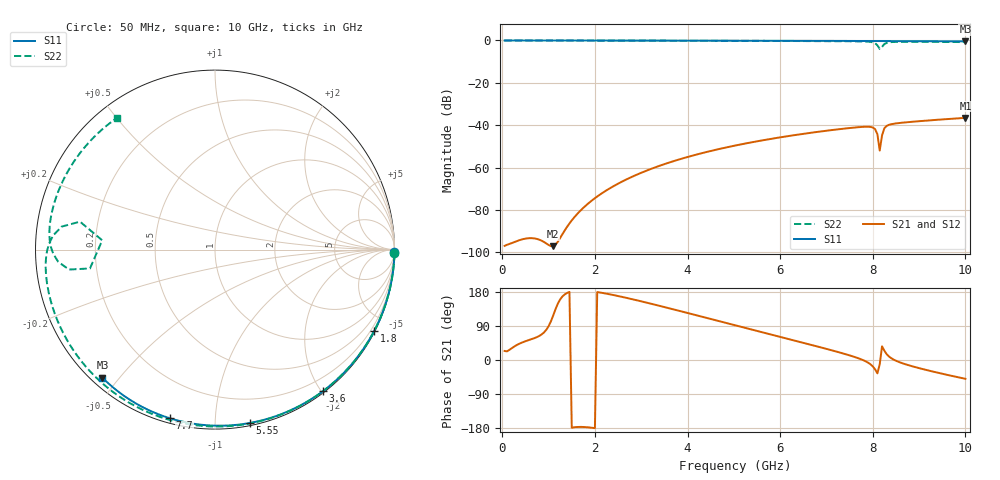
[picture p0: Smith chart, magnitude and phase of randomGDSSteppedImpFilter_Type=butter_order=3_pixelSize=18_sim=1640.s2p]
! freq	dB(S11)	phase(S11)	dB(S12)	phase(S12)
!  dB(S21)	phase(S21)	dB(S22)	phase(S22)
!S-par simulation data
#  GHz  S  DB  R 50
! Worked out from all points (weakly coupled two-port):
!   200 points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, 50 MHz to 10 GHz, reference 50 ohm
!   highest |S21| = -36.54 dB at 10 GHz (marker M1); lowest = -97.1 dB at 1.1 GHz (marker M2)
!   lowest |S11| = -0.4 dB at 10 GHz (marker M3), VSWR 39.09, Z = 1.54 - j22.6 ohm
!   |S11| at or under -10 dB: nowhere
!   |S22| runs from -4.0 to 0.0 dB; largest |S21 - S12| = 0
!   S11 on the Smith chart (normalised r, x): 50 MHz: open; 1.8 GHz: 0.04, -4.17; 3.6 GHz: 0.02, -2.02; 5.55 GHz: 0.02, -1.22; 7.7 GHz: 0.02, -0.77; 10 GHz: 0.03, -0.45
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0.05  -0.00 -0.8  -96.98 23.8  -96.98 23.8  -0.00 -1.2
1.1  -0.02 -16.6  -97.13 117.7  -97.13 117.7  -0.03 -26.0
1.7  -0.03 -25.5  -80.07 -176.5  -80.07 -176.5  -0.05 -39.8
1.75  -0.03 -26.2  -79.01 -176.7  -79.01 -176.7  -0.05 -41.0
1.8  -0.03 -26.9  -78.02 -177.1  -78.02 -177.1  -0.05 -42.1
2.5  -0.05 -37.1  -67.62 168.9  -67.62 168.9  -0.07 -57.9
3.4  -0.07 -49.9  -59.14 142.8  -59.14 142.8  -0.10 -77.6
3.6  -0.07 -52.7  -57.67 136.6  -57.67 136.6  -0.11 -81.9
5.05  -0.11 -72.2  -49.52 90.9  -49.52 90.9  -0.18 -112.6
5.55  -0.13 -78.7  -47.42 75.2  -47.42 75.2  -0.21 -123.1
6.7  -0.18 -93.0  -43.48 39.0  -43.48 39.0  -0.30 -147.9
7.7  -0.24 -105.0  -40.93 4.1  -40.93 4.1  -0.44 -172.6
7.95  -0.26 -107.9  -40.83 -11.3  -40.83 -11.3  -0.68 177.9
8.05  -0.27 -109.1  -41.86 -24.7  -41.86 -24.7  -1.27 171.5
8.1  -0.27 -109.7  -44.29 -35.2  -44.29 -35.2  -2.29 168.3
8.15  -0.27 -110.2  -51.99 -11.4  -51.99 -11.4  -4.01 175.3
8.2  -0.27 -110.8  -44.85 36.1  -44.85 36.1  -3.04 -171.4
8.25  -0.28 -111.4  -41.46 24.6  -41.46 24.6  -1.71 -172.2
8.35  -0.29 -112.6  -39.83 9.2  -39.83 9.2  -0.90 -178.5
8.65  -0.31 -116.0  -38.80 -9.0  -38.80 -9.0  -0.62 169.7
9.1  -0.35 -121.1  -37.94 -24.6  -37.94 -24.6  -0.63 155.8
10  -0.44 -131.3  -36.54 -49.7  -36.54 -49.7  -0.78 126.6
